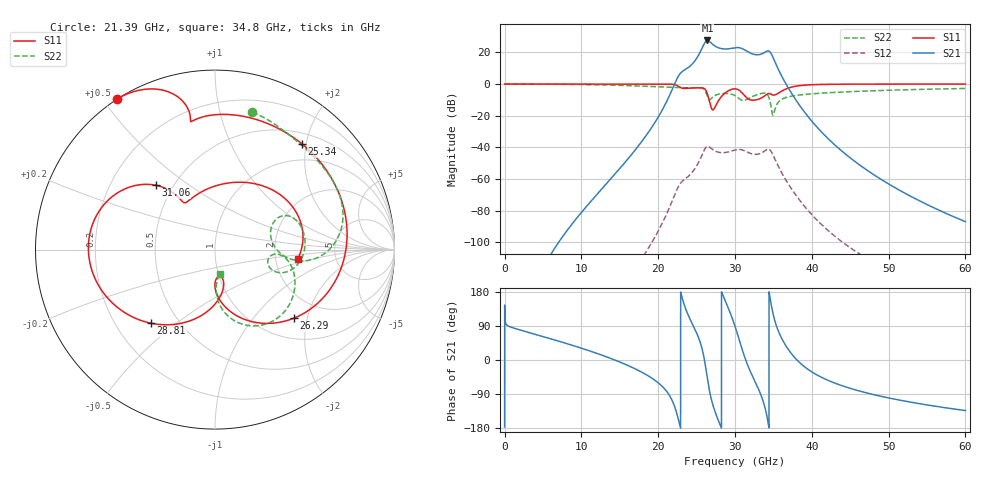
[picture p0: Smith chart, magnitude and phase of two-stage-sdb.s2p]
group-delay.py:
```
import skrf
import numpy as np
import matplotlib.pyplot as plt

# Load S-parameters from Touchstone file
ntwk = skrf.network.Network('data/two-stage-sdb.s2p')

# Convert to frequency-domain
ntwk.frequency.unit = 'ghz'
freq = ntwk.frequency.f
s = ntwk.s

# Calculate group delay
w = 2 * np.pi * freq
s21 = s[1, 0, :]
gd = -np.diff(np.unwrap(np.angle(s21))) / np.diff(w)
gd = np.insert(gd, 0, gd[0])  # Duplicate first value to keep array length

# Plot group delay
plt.plot(freq, gd)
plt.xlim(25e9, 35e9)
plt.xlabel('Frequency (GHz)')
plt.ylabel('Group Delay (ns)')
plt.show()
```
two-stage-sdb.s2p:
! Touchstone Ver. 1.0
! Fri May  5 20:04:56 2023
! Number of ports is 2
# Hz	S	DB	R	50.000000
! SCATTERING PARAMETERS  :
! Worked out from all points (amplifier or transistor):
!   6000 points, 10 MHz to 60 GHz, reference 50 ohm
!   highest |S21| = 27.6 dB at 26.41 GHz (marker M1)
!   |S21| within 3 dB of that: 25.9 GHz to 27.24 GHz (1.335 GHz wide, 5.02 % of centre)
!   unconditionally stable (mu >= 1): 35.54 MHz to 7.02 GHz; 21.49 GHz to end of sweep
!   at 10.01 GHz: K = -1185215.09, MSG = 42.1 dB, |S12| = -165.4 dB
!   at 30.01 GHz: K = 1.94, MAG = 26.7 dB, |S12| = -41.6 dB
!   at 60 GHz: K = 25876847.14, MAG = -51.9 dB, |S12| = -137.8 dB
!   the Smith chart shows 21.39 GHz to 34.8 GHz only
!   S11 on the Smith chart (normalised r, x): 21.39 GHz: -0.00, +0.54; 25.34 GHz: 0.68, +1.92; 26.29 GHz: 1.43, -1.66; 28.81 GHz: 0.35, -0.41; 31.06 GHz: 0.40, +0.38; 34.8 GHz: 2.67, -0.37
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1e7  -0.00 180.0  -394.41 -176.8  -603.59 30.3  -0.00 180.0
2.139e10  0.01 122.9  -8.17 -90.9  -78.98 122.3  -2.00 74.8
2.534e10  -2.35 50.6  18.99 54.7  -48.74 -86.2  -2.39 27.4
2.629e10  -4.70 -41.1  27.37 -33.4  -39.68 -172.9  -6.09 -7.3
2.641e10  -6.20 -57.0  27.55 -49.4  -39.41 171.3  -7.74 -6.6
2.729e10  -15.56 -75.5  24.37 -129.3  -41.99 92.7  -7.50 26.5
2.881e10  -5.30 -131.0  22.15 153.0  -43.20 17.2  -5.96 5.8
3.001e10  -3.04 175.8  22.98 88.8  -41.61 -45.3  -7.33 -16.0
3.106e10  -6.25 132.6  22.12 20.0  -41.83 -112.5  -10.44 -11.5
3.48e10  -6.68 -6.7  18.44 137.4  -43.35 10.2  -17.23 -79.0
6e10  -0.00 -156.4  -86.97 -133.4  -137.83 132.0  -2.79 -107.1
